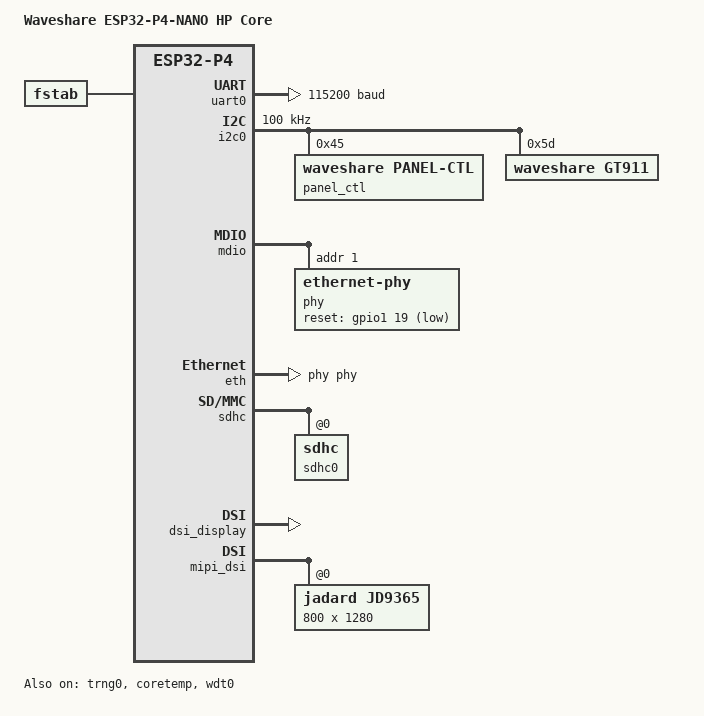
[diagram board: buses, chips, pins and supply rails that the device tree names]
/*
 * SPDX-License-Identifier: Apache-2.0
 *
 * Waveshare ESP32-P4-NANO. Zephyr has no upstream support for this exact
 * board; it is derived from the espressif,esp32p4/waveshare,esp32p4_eth SoC
 * setup (same SoC, same n32r32 flash/PSRAM SKU, same I2C0 pins), with the
 * ethernet-specific nodes dropped and the on-board 10.1" MIPI-DSI panel
 * added. See PLAN.md for the full rationale.
 *
 * Peripherals *not* wired here (boot button, SD card slot, USB OTG pins) are
 * intentionally omitted: their exact GPIOs for this specific board variant
 * were not verified against real hardware/schematics and are out of scope
 * for display bring-up.
 */

/dts-v1/;

#include <espressif/esp32p4/esp32p4.dtsi>
#include "waveshare_esp32p4_nano_hpcore-pinctrl.dtsi"
#include <zephyr/dt-bindings/mipi_dsi/mipi_dsi.h>
#include <zephyr/dt-bindings/display/panel.h>
#include <espressif/partitions_0x2000_default_16M.dtsi>

/ {
	model = "Waveshare ESP32-P4-NANO HP Core";
	compatible = "waveshare,esp32-p4-nano";

	chosen {
		zephyr,sram = &sramhp;
		zephyr,console = &uart0;
		zephyr,shell-uart = &uart0;
		zephyr,flash = &flash0;
		zephyr,code-partition = &slot0_partition;
		zephyr,display = &dsi_display;
		zephyr,touch = &gt911;
	};

	aliases {
		i2c-0 = &i2c0;
		uart-0 = &uart0;
		watchdog0 = &wdt0;
	};

	/* FATFS on the SD card; auto-mounted once the SDHC disk is ready
	 * (FATFS init priority 99 > SDHC 85). Files: /SD:/bar_dashboard.json,
	 * /SD:/creds.json, /SD:/settings.json. */
	fstab {
		compatible = "zephyr,fstab";

		ffs1: ffs1 {
			compatible = "zephyr,fstab,fatfs";
			automount;
			disk-access;
			mount-point = "/SD:";
		};
	};
};

/* 16 MB NOR flash (n16 SKU). */
&flash0 {
	reg = <0x0 DT_SIZE_M(16)>;
	ranges = <0x0 0x0 DT_SIZE_M(16)>;
};

/* 32 MB PSRAM (r32 SKU), used for the DSI framebuffer. */
&psram0 {
	size = <DT_SIZE_M(32)>;
};

/*
 * This board carries pre-v3 (v1.3) ESP32-P4 silicon, whose valid CPU
 * frequencies are 90/180/360 MHz. Using a frequency outside that set
 * builds but fails at boot with "invalid CPU frequency".
 */
&cpu0 {
	clock-frequency = <DT_FREQ_M(360)>;
};

&cpu1 {
	clock-frequency = <DT_FREQ_M(360)>;
};

&uart0 {
	status = "okay";
	current-speed = <115200>;
	pinctrl-0 = <&uart0_default>;
	pinctrl-names = "default";
};

&trng0 {
	status = "okay";
};

&coretemp {
	status = "okay";
};

&i2c0 {
	status = "okay";
	/* The Waveshare panel-ctl chip (a small on-board MCU, likely
	 * bit-banged/software I2C, not a dedicated I2C peripheral) is used
	 * at 100 kHz (I2C_BITRATE_STANDARD) in the working Arduino/ESP-IDF
	 * reference (arduino-display/displays/displays_config.h:
	 * i2c_clock_speed = 100000) - not I2C_BITRATE_FAST (400 kHz).
	 */
	clock-frequency = <I2C_BITRATE_STANDARD>;
	pinctrl-0 = <&i2c0_default>;
	pinctrl-names = "default";

	panel_ctl: panel-ctl@45 {
		compatible = "waveshare,panel-ctl";
		reg = <0x45>;
	};

	/* GT911 touch controller on the 10.1" DSI display. The board does not
	 * route the INT/RST pins, so it is polled via I2C. Keep the driver's
	 * native portrait coordinates here; LVGL's display ROTATION_270 applies
	 * the matching transform exactly once before hit testing. */
	gt911: gt911@5d {
		compatible = "waveshare,gt911";
		reg = <0x5d>;
		screen-width = <800>;
		screen-height = <1280>;
	};
};

/*
 * 10/100M Ethernet: same wiring as the Waveshare esp32p4_eth board (on
 * which the Arduino reference also runs) - the onboard PHY (TLK110, addr
 * 1) on MDC 31 / MDIO 52, reset/power on GPIO 51 (gpio1 19), RMII with
 * the 50 MHz ref clock supplied by the PHY (EMAC_CLK_EXT_IN).
 */
/* Ethernet (MDC 31/MDIO 52, TLK110 @1, RMII): re-enabled after the
 * firmware size reduction (520KB -> 418KB) reduced the flash-XIP cache
 * pressure that caused the EMAC+LVGL instability on this pre-v3 silicon. */
&mdio {
	pinctrl-0 = <&mdio_default>;
	pinctrl-names = "default";
	status = "okay";

	phy: ethernet-phy@1 {
		compatible = "ethernet-phy";
		reg = <1>;
		reset-gpios = <&gpio1 19 GPIO_ACTIVE_LOW>;
	};
};

&eth {
	status = "okay";
	phy-handle = <&phy>;
	pinctrl-0 = <&rmii_default>;
	pinctrl-names = "default";
};

/* SD card slot (SDIO 3.0), same pins as the eth board. */
&sdhc {
	sdhc0: sdhc@0 {
		status = "okay";
		bus-width = <4>;
		max-bus-freq = <40000000>;
		clk-pin = <43>;
		cmd-pin = <44>;
		d0-pin = <39>;
		d1-pin = <40>;
		d2-pin = <41>;
		d3-pin = <42>;

		mmc {
			compatible = "zephyr,sdmmc-disk";
			disk-name = "SD";
			status = "okay";
		};
	};
};

&gpio0 {
	status = "okay";
};

&wdt0 {
	status = "okay";
};

&dma {
	status = "okay";
};

&dma_axi {
	status = "okay";
};

&ldo {
	status = "okay";

	ldo1@1 {
		regulator-init-microvolt = <3300000>;
		regulator-boot-on;
		regulator-always-on;
	};

	ldo2@2 {
		regulator-init-microvolt = <1800000>;
		regulator-boot-on;
		regulator-always-on;
	};

	/* VO3: MIPI DSI D-PHY power rail. */
	ldo3@3 {
		regulator-init-microvolt = <2500000>;
		regulator-boot-on;
		regulator-always-on;
	};

	ldo4@4 {
		regulator-init-microvolt = <3300000>;
		regulator-boot-on;
		regulator-always-on;
	};
};

/*
 * MIPI-DSI host + DPI scan-out controller. Both nodes are defined in the
 * SoC dtsi (espressif,esp-mipi-dsi under espressif,esp-dsi-display) and
 * driven by the upstream Zephyr drivers (drivers/mipi_dsi/dsi_esp32.c,
 * drivers/display/display_esp32_dsi.c). The JD9365 panel hangs off the
 * host and attaches in video mode with low-power commands.
 */
&dsi_display {
	status = "okay";
	width = <800>;
	height = <1280>;
	pixel-format = <PANEL_PIXEL_FORMAT_RGB_565>;
};

&mipi_dsi {
	status = "okay";
	data-lanes = <2>;
	phy-clock = <1500000000>;
	dpi-clock-frequency = <80000000>;

	jd9365: jd9365@0 {
		compatible = "jadard,jd9365";
		reg = <0>;
		data-lanes = <2>;
		pixel-format = <MIPI_DSI_PIXFMT_RGB565>;
		width = <800>;
		height = <1280>;

		display-timings {
			compatible = "zephyr,panel-timing";
			hsync-len = <20>;
			hback-porch = <20>;
			hfront-porch = <40>;
			vsync-len = <4>;
			vback-porch = <10>;
			vfront-porch = <30>;
			hsync-active = <0>;
			vsync-active = <0>;
			de-active = <1>;
			pixelclk-active = <0>;
		};
	};
};
